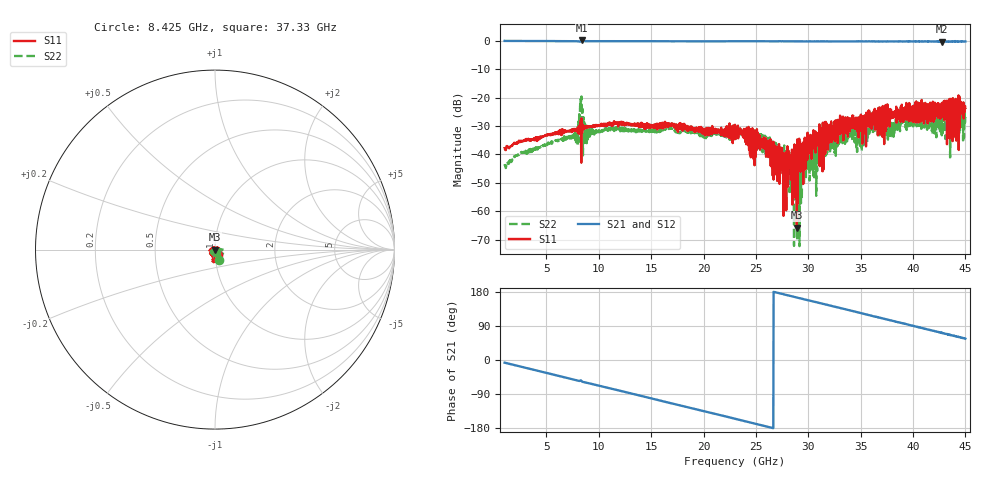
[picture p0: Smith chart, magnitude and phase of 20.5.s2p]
!Keysight Technologies,N5247B,MY61255062,A.19.80.06
!Date: Tuesday, May 26, 2026 11:56:50
!Correction: S11(C  2-Port  )
!S21(C  2-Port  )
!S12(C  2-Port  )
!S22(C  2-Port  )
!S2P File: Measurements: S11, S21, S12, S22:
# Hz S  dB  R 50
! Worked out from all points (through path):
!   1601 points, 1 GHz to 45 GHz, reference 50 ohm
!   highest |S21| = 0.08 dB at 8.342 GHz (marker M1); lowest = -0.4 dB at 42.8 GHz (marker M2)
!   group delay of S21, straight-line fit = 18.7 ps
!   lowest |S11| = -65.8 dB at 28.91 GHz (marker M3), VSWR 1.00, Z = 50 + j0.0472 ohm
!   |S11| at or under -10 dB: start of sweep to end of sweep
!   |S22| runs from -72.3 to -19.6 dB; largest |S21 - S12| = 0.018
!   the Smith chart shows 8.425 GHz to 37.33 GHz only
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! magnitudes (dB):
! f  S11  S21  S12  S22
! 1 GHz  -37.8  -0.1  -0.1  -43.4
! 7.765 GHz  -31.8  -0.2  -0.2  -32.4
! 8.342 GHz  -27.3  0.1  0.1  -19.6
! 8.7 GHz  -30.8  -0.2  -0.2  -29.5
! 15.69 GHz  -29.9  -0.2  -0.2  -31.9
! 23 GHz  -29.6  -0.2  -0.2  -32.4
! 27.12 GHz  -42.4  -0.2  -0.2  -36.6
! 27.84 GHz  -44.6  -0.2  -0.2  -41.7
! 28.23 GHz  -40.2  -0.2  -0.2  -45.8
! 28.69 GHz  -39.8  -0.2  -0.2  -42.5
! 28.8 GHz  -55.5  -0.2  -0.2  -45.6
! 28.91 GHz  -65.8  -0.2  -0.2  -46.0
! 29.16 GHz  -42.2  -0.2  -0.2  -72.3
! 29.41 GHz  -36.6  -0.2  -0.2  -42.7
! 30.34 GHz  -33.8  -0.3  -0.3  -37.5
! 31.11 GHz  -31.7  -0.2  -0.3  -41.7
! 33.86 GHz  -28.9  -0.3  -0.2  -33.3
! 37.69 GHz  -29.1  -0.3  -0.2  -34.1
! 39.14 GHz  -27.4  -0.3  -0.3  -29.2
! 42.8 GHz  -26.8  -0.4  -0.3  -25.5
! 43.98 GHz  -21.3  -0.3  -0.3  -32.3
! 45 GHz  -23.7  -0.3  -0.3  -26.1
